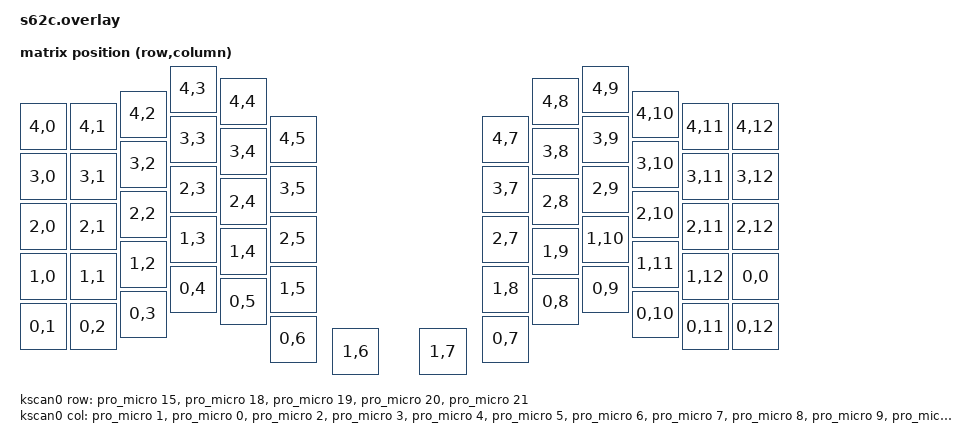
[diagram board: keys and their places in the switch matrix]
#include <dt-bindings/zmk/matrix_transform.h>
#include <physical_layouts.dtsi>

/ {
    chosen {
        zmk,kscan = &kscan0;
        zmk,physical-layout = &physical_layout0;
    };

    kscan0: kscan0 {
        compatible = "zmk,kscan-gpio-matrix";
        diode-direction = "col2row";
        wakeup-source;

        col-gpios
            = <&pro_micro 1 GPIO_ACTIVE_HIGH>
            , <&pro_micro 0 GPIO_ACTIVE_HIGH>
            , <&pro_micro 2 GPIO_ACTIVE_HIGH>
            , <&pro_micro 3 GPIO_ACTIVE_HIGH>
            , <&pro_micro 4 GPIO_ACTIVE_HIGH>
            , <&pro_micro 5 GPIO_ACTIVE_HIGH>
            , <&pro_micro 6 GPIO_ACTIVE_HIGH>
            , <&pro_micro 7 GPIO_ACTIVE_HIGH>
            , <&pro_micro 8 GPIO_ACTIVE_HIGH>
            , <&pro_micro 9 GPIO_ACTIVE_HIGH>
            , <&pro_micro 10 GPIO_ACTIVE_HIGH>
            , <&pro_micro 16 GPIO_ACTIVE_HIGH>
            , <&pro_micro 14 GPIO_ACTIVE_HIGH>
            ;

        row-gpios
            = <&pro_micro 15 (GPIO_ACTIVE_HIGH | GPIO_PULL_DOWN)>
            , <&pro_micro 18 (GPIO_ACTIVE_HIGH | GPIO_PULL_DOWN)>
            , <&pro_micro 19 (GPIO_ACTIVE_HIGH | GPIO_PULL_DOWN)>
            , <&pro_micro 20 (GPIO_ACTIVE_HIGH | GPIO_PULL_DOWN)>
            , <&pro_micro 21 (GPIO_ACTIVE_HIGH | GPIO_PULL_DOWN)>
            ;
    };

    default_transform: keymap_transform0 {
        compatible = "zmk,matrix-transform";
        columns = <13>;
        rows = <5>;
        map = <
            RC(4,0) RC(4,1) RC(4,2) RC(4,3) RC(4,4) RC(4,5)                 RC(4,7) RC(4,8) RC(4,9) RC(4,10) RC(4,11) RC(4,12) 
            RC(3,0) RC(3,1) RC(3,2) RC(3,3) RC(3,4) RC(3,5)                 RC(3,7) RC(3,8) RC(3,9) RC(3,10) RC(3,11) RC(3,12) 
            RC(2,0) RC(2,1) RC(2,2) RC(2,3) RC(2,4) RC(2,5)                 RC(2,7) RC(2,8) RC(2,9) RC(2,10) RC(2,11) RC(2,12) 
            RC(1,0) RC(1,1) RC(1,2) RC(1,3) RC(1,4) RC(1,5)                 RC(1,7) RC(1,8) RC(1,9) RC(1,10) RC(1,11) RC(1,12) 
            RC(0,0) RC(0,1) RC(0,2) RC(0,3) RC(0,4) RC(0,5) RC(0,6) RC(1,6) RC(0,7) RC(0,8) RC(0,9) RC(0,10) RC(0,11) RC(0,12) 
        >;
    };

    physical_layout0: physical_layout0 {
        compatible = "zmk,physical-layout";
        display-name = "S62C Default Layout";

        transform = <&default_transform>;

        keys  //                     w   h    x    y     rot    rx    ry
            = <&key_physical_attrs 100 100    0   75       0     0     0>
            , <&key_physical_attrs 100 100  100   75       0     0     0>
            , <&key_physical_attrs 100 100  200   50       0     0     0>
            , <&key_physical_attrs 100 100  300    0       0     0     0>
            , <&key_physical_attrs 100 100  400   25       0     0     0>
            , <&key_physical_attrs 100 100  500  100       0     0     0>
            , <&key_physical_attrs 100 100  925  100       0     0     0>
            , <&key_physical_attrs 100 100 1025   25       0     0     0>
            , <&key_physical_attrs 100 100 1125    0       0     0     0>
            , <&key_physical_attrs 100 100 1225   50       0     0     0>
            , <&key_physical_attrs 100 100 1325   75       0     0     0>
            , <&key_physical_attrs 100 100 1425   75       0     0     0>
            , <&key_physical_attrs 100 100    0  175       0     0     0>
            , <&key_physical_attrs 100 100  100  175       0     0     0>
            , <&key_physical_attrs 100 100  200  150       0     0     0>
            , <&key_physical_attrs 100 100  300  100       0     0     0>
            , <&key_physical_attrs 100 100  400  125       0     0     0>
            , <&key_physical_attrs 100 100  500  200       0     0     0>
            , <&key_physical_attrs 100 100  925  200       0     0     0>
            , <&key_physical_attrs 100 100 1025  125       0     0     0>
            , <&key_physical_attrs 100 100 1125  100       0     0     0>
            , <&key_physical_attrs 100 100 1225  150       0     0     0>
            , <&key_physical_attrs 100 100 1325  175       0     0     0>
            , <&key_physical_attrs 100 100 1425  175       0     0     0>
            , <&key_physical_attrs 100 100    0  275       0     0     0>
            , <&key_physical_attrs 100 100  100  275       0     0     0>
            , <&key_physical_attrs 100 100  200  250       0     0     0>
            , <&key_physical_attrs 100 100  300  200       0     0     0>
            , <&key_physical_attrs 100 100  400  225       0     0     0>
            , <&key_physical_attrs 100 100  500  300       0     0     0>
            , <&key_physical_attrs 100 100  925  300       0     0     0>
            , <&key_physical_attrs 100 100 1025  225       0     0     0>
            , <&key_physical_attrs 100 100 1125  200       0     0     0>
            , <&key_physical_attrs 100 100 1225  250       0     0     0>
            , <&key_physical_attrs 100 100 1325  275       0     0     0>
            , <&key_physical_attrs 100 100 1425  275       0     0     0>
            , <&key_physical_attrs 100 100    0  375       0     0     0>
            , <&key_physical_attrs 100 100  100  375       0     0     0>
            , <&key_physical_attrs 100 100  200  350       0     0     0>
            , <&key_physical_attrs 100 100  300  300       0     0     0>
            , <&key_physical_attrs 100 100  400  325       0     0     0>
            , <&key_physical_attrs 100 100  500  400       0     0     0>
            , <&key_physical_attrs 100 100  800  525       0     0     0>
            , <&key_physical_attrs 100 100  925  400       0     0     0>
            , <&key_physical_attrs 100 100 1025  325       0     0     0>
            , <&key_physical_attrs 100 100 1125  300       0     0     0>
            , <&key_physical_attrs 100 100 1225  350       0     0     0>
            , <&key_physical_attrs 100 100 1325  375       0     0     0>
            , <&key_physical_attrs 100 100 1425  375       0     0     0>
            , <&key_physical_attrs 100 100    0  475       0     0     0>
            , <&key_physical_attrs 100 100  100  475       0     0     0>
            , <&key_physical_attrs 100 100  200  450       0     0     0>
            , <&key_physical_attrs 100 100  300  400       0     0     0>
            , <&key_physical_attrs 100 100  400  425       0     0     0>
            , <&key_physical_attrs 100 100  500  500       0     0     0>
            , <&key_physical_attrs 100 100  625  525       0     0     0>
            , <&key_physical_attrs 100 100  925  500       0     0     0>
            , <&key_physical_attrs 100 100 1025  425       0     0     0>
            , <&key_physical_attrs 100 100 1125  400       0     0     0>
            , <&key_physical_attrs 100 100 1225  450       0     0     0>
            , <&key_physical_attrs 100 100 1325  475       0     0     0>
            , <&key_physical_attrs 100 100 1425  475       0     0     0>
            ;
    };
};
